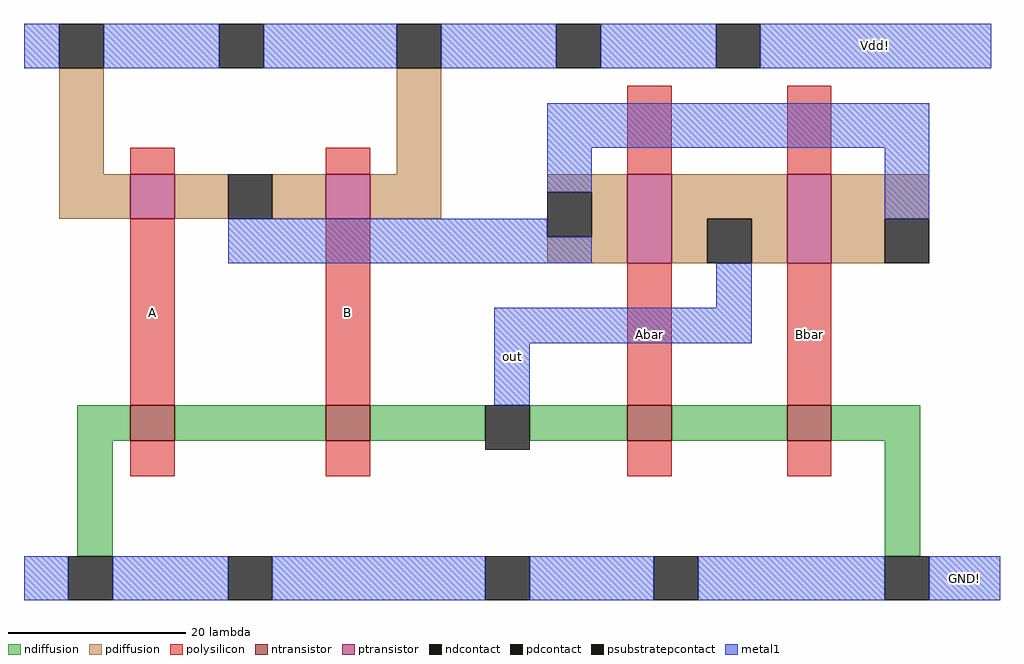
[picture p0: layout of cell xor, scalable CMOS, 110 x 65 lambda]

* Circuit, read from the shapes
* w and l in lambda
.subckt xor A Abar B Bbar GND! Vdd! out
M1 n1 A GND! GND! nfet w=4 l=5
M2 out B n1 GND! nfet w=4 l=5
M3 n2 Abar out GND! nfet w=4 l=5
M4 GND! Bbar n2 GND! nfet w=4 l=5
M5 n3 A Vdd! NWELL pfet w=5 l=5
M6 Vdd! B n3 NWELL pfet w=5 l=5
M7 out Abar n3 NWELL pfet w=10 l=5
M8 n3 Bbar out NWELL pfet w=10 l=5
.ends

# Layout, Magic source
magic
tech scmos
<< ntransistor >>
rect 2 -41 7 -37
rect 24 -41 29 -37
rect 58 -41 63 -37
rect 76 -41 81 -37
<< ptransistor >>
rect 2 -16 7 -11
rect 24 -16 29 -11
rect 58 -21 63 -11
rect 76 -21 81 -11
<< ndiffusion >>
rect -4 -41 2 -37
rect 7 -41 24 -37
rect 29 -41 42 -37
rect -4 -54 0 -41
rect 47 -41 58 -37
rect 63 -41 76 -37
rect 81 -41 91 -37
rect 87 -54 91 -41
<< pdiffusion >>
rect -6 -11 -1 1
rect 32 -11 37 1
rect -6 -16 2 -11
rect 7 -16 13 -11
rect 18 -16 24 -11
rect 29 -16 37 -11
rect 49 -13 58 -11
rect 54 -18 58 -13
rect 49 -21 58 -18
rect 63 -16 76 -11
rect 63 -21 67 -16
rect 72 -21 76 -16
rect 81 -16 92 -11
rect 81 -21 87 -16
<< ndcontact >>
rect 12 1 17 6
rect 50 1 55 6
rect 68 1 73 6
rect 42 -42 47 -37
rect -5 -59 0 -54
rect 87 -59 92 -54
<< pdcontact >>
rect -6 1 -1 6
rect 32 1 37 6
rect 13 -16 18 -11
rect 49 -18 54 -13
rect 67 -21 72 -16
rect 87 -21 92 -16
<< psubstratepcontact >>
rect 13 -59 18 -54
rect 42 -59 47 -54
rect 61 -59 66 -54
<< polysilicon >>
rect 2 -11 7 -8
rect 24 -11 29 -8
rect 58 -11 63 -1
rect 76 -11 81 -1
rect 2 -37 7 -16
rect 24 -37 29 -16
rect 58 -37 63 -21
rect 76 -37 81 -21
rect 2 -45 7 -41
rect 24 -45 29 -41
rect 58 -45 63 -41
rect 76 -45 81 -41
<< metal1 >>
rect -10 1 -6 6
rect -1 1 12 6
rect 17 1 32 6
rect 37 1 50 6
rect 55 1 68 6
rect 73 1 99 6
rect 49 -8 92 -3
rect 49 -13 54 -8
rect 13 -18 49 -16
rect 87 -16 92 -8
rect 13 -21 54 -18
rect 68 -26 72 -21
rect 43 -30 72 -26
rect 43 -37 47 -30
rect -10 -59 -5 -54
rect 0 -59 13 -54
rect 18 -59 42 -54
rect 47 -59 61 -54
rect 66 -59 87 -54
rect 92 -59 100 -54
<< labels >>
rlabel polysilicon 2 -37 7 -16 1 A
rlabel polysilicon 24 -37 29 -16 1 B
rlabel metal1 43 -37 47 -26 1 out
rlabel polysilicon 58 -37 63 -21 1 Abar
rlabel polysilicon 76 -37 81 -21 1 Bbar
rlabel metal1 92 -59 100 -54 8 GND!
rlabel metal1 73 1 99 6 5 Vdd!
<< end >>
